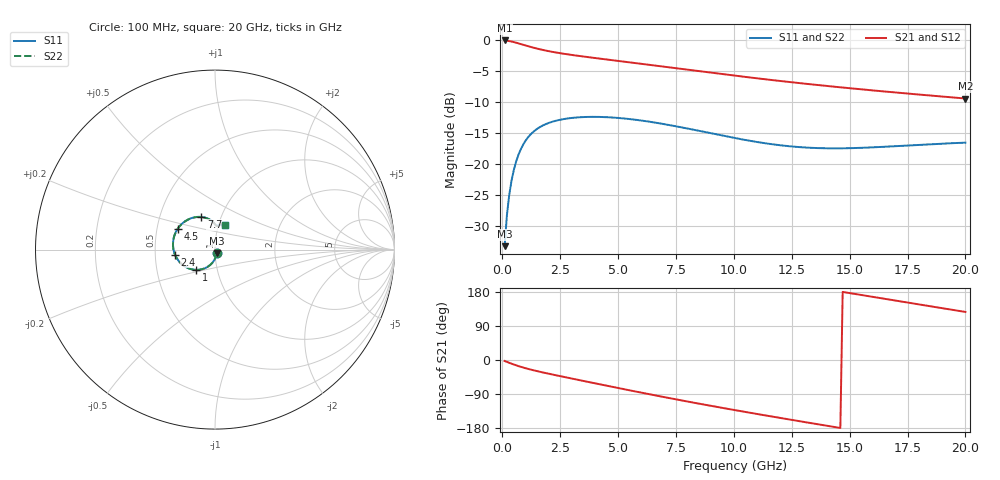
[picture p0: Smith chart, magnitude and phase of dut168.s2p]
! Touchstone file exported from HFSS 2023.1.0
!  File:  D:/Users/fzz/RDL_TSV/temp_RDL_TSV_168_1778754042.aedt
!  Generated:  6:30:01 %x4E0B%x5348  5%x6708 14, 2026
!  Design:  RDL_TSV
!  Project:  temp_RDL_TSV_168_1778754042
!  Setup:  Setup1
!  Solution:  Sweep
! Variables:
!  dtsv = 24.04um
!  hbump = 3um
!  htsv = 95.28um
!  ldown = 647.23um
!  lrdl = 122.29um
!  p = 40
!  p1 = 51.54um
!  rhole = 10um
!  subl = 2430.85um
!  t = 450um
!  tdown = 3.25um
!  trdl = 2.05um
!  viad = 10um
!  wdown = 27.15um
!  wrdl = 27.73um
!  xbump = 18um
# GHz S MA R 50.000000
! Terminal data exported
! Port[1] = TM1_1_T1
! Port[2] = TM1_4_T1
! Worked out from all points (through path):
!   200 points, 100 MHz to 20 GHz, reference 50 ohm
!   highest |S21| = -0.12 dB at 100 MHz (marker M1); lowest = -9.5 dB at 20 GHz (marker M2)
!   group delay of S21, straight-line fit = 30.9 ps
!   lowest |S11| = -33.2 dB at 100 MHz (marker M3), VSWR 1.04, Z = 51 - j1.97 ohm
!   |S11| at or under -10 dB: start of sweep to end of sweep
!   |S22| runs from -33.2 to -12.4 dB; largest |S21 - S12| = 1.5e-14
!   S11 on the Smith chart (normalised r, x): 100 MHz: 1.02, -0.04; 1 GHz: 0.79, -0.18; 2.4 GHz: 0.63, -0.04; 4.5 GHz: 0.64, +0.16; 7.7 GHz: 0.81, +0.31; 20 GHz: 1.08, +0.30
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0.1  0.02178 -62.6  0.9868 -2.6  0.9868 -2.6  0.02179 -62.6
! Gamma 0 0 0 0
! Port Impedance 50 0 50 0
0.2  0.0388 -82.1  0.9822 -5.0  0.9822 -5.0  0.03881 -82.1
0.3  0.05644 -92.8  0.9755 -7.5  0.9755 -7.5  0.05645 -92.8
0.4  0.07358 -100.7  0.967 -9.8  0.967 -9.8  0.07359 -100.7
0.5  0.0898 -107.4  0.9572 -12.0  0.9572 -12.0  0.08982 -107.4
0.7  0.1188 -118.7  0.9351 -16.1  0.9351 -16.1  0.1188 -118.7
1  0.1534 -132.5  0.9001 -21.6  0.9001 -21.6  0.1534 -132.5
1.6  0.1969 -153.2  0.8399 -30.8  0.8399 -30.8  0.1969 -153.1
2.4  0.2249 -173.0  0.7846 -41.3  0.7846 -41.3  0.2248 -172.9
3.5  0.2385 166.3  0.7327 -55.2  0.7327 -55.2  0.2383 166.4
4.5  0.238 150.6  0.6941 -67.7  0.6941 -67.7  0.2377 150.7
5.6  0.2287 135.6  0.6547 -81.3  0.6547 -81.3  0.2283 135.8
6.8  0.2122 121.7  0.6134 -95.7  0.6134 -95.7  0.2117 121.9
7.7  0.1978 113.0  0.5837 -106.2  0.5837 -106.2  0.1972 113.1
8.9  0.1783 103.5  0.5464 -119.7  0.5464 -119.7  0.1777 103.6
10.1  0.1609 96.6  0.5124 -132.9  0.5124 -132.9  0.1602 96.6
11.7  0.1437 90.8  0.4724 -149.8  0.4724 -149.8  0.143 90.7
13.4  0.1347 87.4  0.4362 -167.3  0.4362 -167.3  0.1338 87.2
15  0.1339 84.5  0.4072 176.6  0.4072 176.6  0.1328 84.2
16.7  0.1382 80.2  0.3803 159.6  0.3803 159.6  0.1367 79.8
18.4  0.1439 74.1  0.3566 142.7  0.3566 142.7  0.1423 73.7
20  0.1483 67.2  0.3364 126.8  0.3364 126.8  0.1466 66.7
